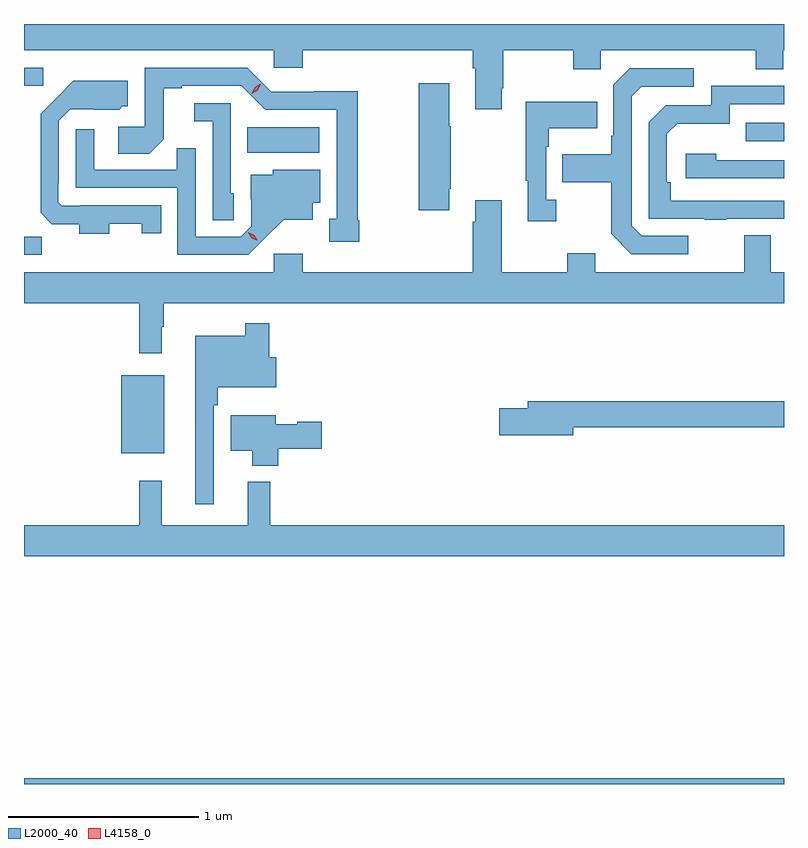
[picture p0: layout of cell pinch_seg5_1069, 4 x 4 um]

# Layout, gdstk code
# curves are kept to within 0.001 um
import gdstk
lib = gdstk.Library(unit=1e-6, precision=1e-09)
def R(c, l, rs):  # rectangles x0, y0, x1, y1
    for r in rs: c.add(gdstk.rectangle(r[:2], r[2:], *l))
def P(c, l, *ps):  # polygons
    for p in ps: c.add(gdstk.Polygon(p, *l))
L2000_40 = (2000, 40)
L4158_0 = (4158, 0)

pinch_seg5_1069 = lib.new_cell('pinch_seg5_1069')
R(pinch_seg5_1069, L2000_40, [(803.304,868.882,807.304,868.912), (803.816,870.623,804.043,871.033), (803.304,871.668,803.397,871.763), (804.478,872.204,804.859,872.338), (807.103,872.265,807.304,872.361), (803.304,872.556,803.404,872.652)])
P(pinch_seg5_1069, L2000_40, [(807.154,872.645),(807.301,872.645),(807.301,872.744),(807.304,872.744),(807.304,872.882),(803.304,872.882),(803.304,872.744),(804.618,872.744),(804.618,872.651),(804.77,872.651),(804.77,872.744),(805.667,872.744),(805.667,872.648),(805.679,872.648),(805.679,872.433),(805.819,872.433),(805.819,872.545),(805.827,872.545),(805.827,872.744),(806.194,872.744),(806.194,872.645),(806.34,872.645),(806.34,872.744),(807.154,872.744)],
  [(805.069,871.849),(805.061,871.849),(805.061,872.528),(804.828,872.528),(804.828,872.526),(804.606,872.526),(804.48,872.652),(803.94,872.652),(803.94,872.34),(803.799,872.34),(803.799,872.2),(803.963,872.2),(804.039,872.276),(804.039,872.544),(804.133,872.544),(804.133,872.556),(804.447,872.556),(804.573,872.43),(804.95,872.43),(804.95,871.857),(804.911,871.857),(804.911,871.737),(805.069,871.737)],
  [(806.8,871.767),(806.556,871.767),(806.502,871.821),(806.502,872.502),(806.553,872.553),(806.83,872.553),(806.83,872.649),(806.493,872.649),(806.406,872.562),(806.406,872.293),(806.394,872.293),(806.394,872.197),(806.137,872.197),(806.137,872.05),(806.394,872.05),(806.394,871.777),(806.499,871.671),(806.8,871.671)],
  [(803.752,871.831),(803.925,871.831),(803.925,871.782),(804.026,871.782),(804.026,871.929),(803.602,871.929),(803.602,871.926),(803.502,871.926),(803.484,871.944),(803.484,872.044),(803.487,872.044),(803.487,872.373),(803.547,872.433),(803.804,872.432),(803.82,872.448),(803.851,872.448),(803.851,872.584),(803.563,872.584),(803.391,872.41),(803.391,871.888),(803.45,871.829),(803.594,871.829),(803.594,871.778),(803.752,871.778)],
  [(805.543,872.014),(805.551,872.014),(805.551,872.345),(805.543,872.345),(805.543,872.569),(805.381,872.569),(805.381,871.902),(805.543,871.902)],
  [(806.999,871.857),(807.304,871.857),(807.304,871.953),(806.708,871.953),(806.708,872.05),(806.688,872.05),(806.688,872.304),(806.741,872.357),(807.018,872.357),(807.018,872.46),(807.304,872.46),(807.304,872.556),(806.922,872.556),(806.922,872.454),(806.682,872.454),(806.592,872.364),(806.592,871.857),(806.887,871.857),(806.887,871.852),(806.999,871.852)],
  [(806.104,871.958),(806.052,871.958),(806.052,872.237),(806.065,872.237),(806.065,872.333),(806.321,872.333),(806.321,872.473),(805.944,872.473),(805.944,872.057),(805.955,872.057),(805.955,871.845),(806.104,871.845)],
  [(804.408,871.992),(804.393,871.992),(804.393,872.466),(804.201,872.466),(804.201,872.369),(804.297,872.369),(804.297,871.849),(804.408,871.849)],
  [(804.568,871.751),(804.671,871.853),(804.823,871.853),(804.823,871.94),(804.862,871.94),(804.862,872.116),(804.612,872.116),(804.612,872.089),(804.497,872.089),(804.497,871.96),(804.501,871.96),(804.501,871.818),(804.444,871.761),(804.207,871.761),(804.207,872.228),(804.109,872.228),(804.109,872.115),(803.673,872.115),(803.673,872.329),(803.577,872.329),(803.577,872.019),(804.111,872.019),(804.111,871.668),(804.484,871.668)],
  [(807.304,872.166),(806.948,872.166),(806.948,872.2),(806.787,872.2),(806.787,872.07),(807.304,872.07)],
  [(804.028,871.289),(804.04,871.289),(804.04,871.412),(807.304,871.412),(807.304,871.576),(807.235,871.576),(807.235,871.771),(807.095,871.771),(807.095,871.576),(806.311,871.576),(806.311,871.675),(806.164,871.675),(806.164,871.576),(805.819,871.576),(805.819,871.954),(805.679,871.954),(805.679,871.841),(805.667,871.841),(805.667,871.576),(804.77,871.576),(804.77,871.672),(804.618,871.672),(804.618,871.576),(803.304,871.576),(803.304,871.412),(803.911,871.412),(803.911,871.149),(804.028,871.149)],
  [(804.303,870.875),(804.323,870.875),(804.323,870.971),(804.631,870.971),(804.631,871.129),(804.596,871.129),(804.596,871.306),(804.468,871.306),(804.468,871.24),(804.206,871.24),(804.206,870.354),(804.303,870.354)],
  [(806.194,870.76),(807.304,870.76),(807.304,870.896),(805.955,870.896),(805.955,870.86),(805.806,870.86),(805.806,870.718),(806.194,870.718)],
  [(804.641,870.646),(804.871,870.646),(804.871,870.788),(804.741,870.788),(804.741,870.775),(804.628,870.775),(804.628,870.823),(804.392,870.823),(804.392,870.635),(804.506,870.635),(804.506,870.557),(804.641,870.557)],
  [(807.304,870.244),(804.599,870.244),(804.599,870.472),(804.482,870.472),(804.482,870.244),(804.029,870.244),(804.029,870.478),(803.911,870.478),(803.911,870.244),(803.304,870.244),(803.304,870.08),(807.304,870.08)])
P(pinch_seg5_1069, L4158_0, [(804.533,871.74),(804.502,871.755),(804.484,871.784),(804.484,871.785),(804.484,871.785),(804.515,871.77),(804.533,871.74),(804.533,871.74)],
  [(804.502,872.515),(804.502,872.515),(804.519,872.548),(804.551,872.567),(804.551,872.567),(804.551,872.566),(804.534,872.534),(804.502,872.515)])

lib.write_gds('pinch_seg5_1069.gds')
